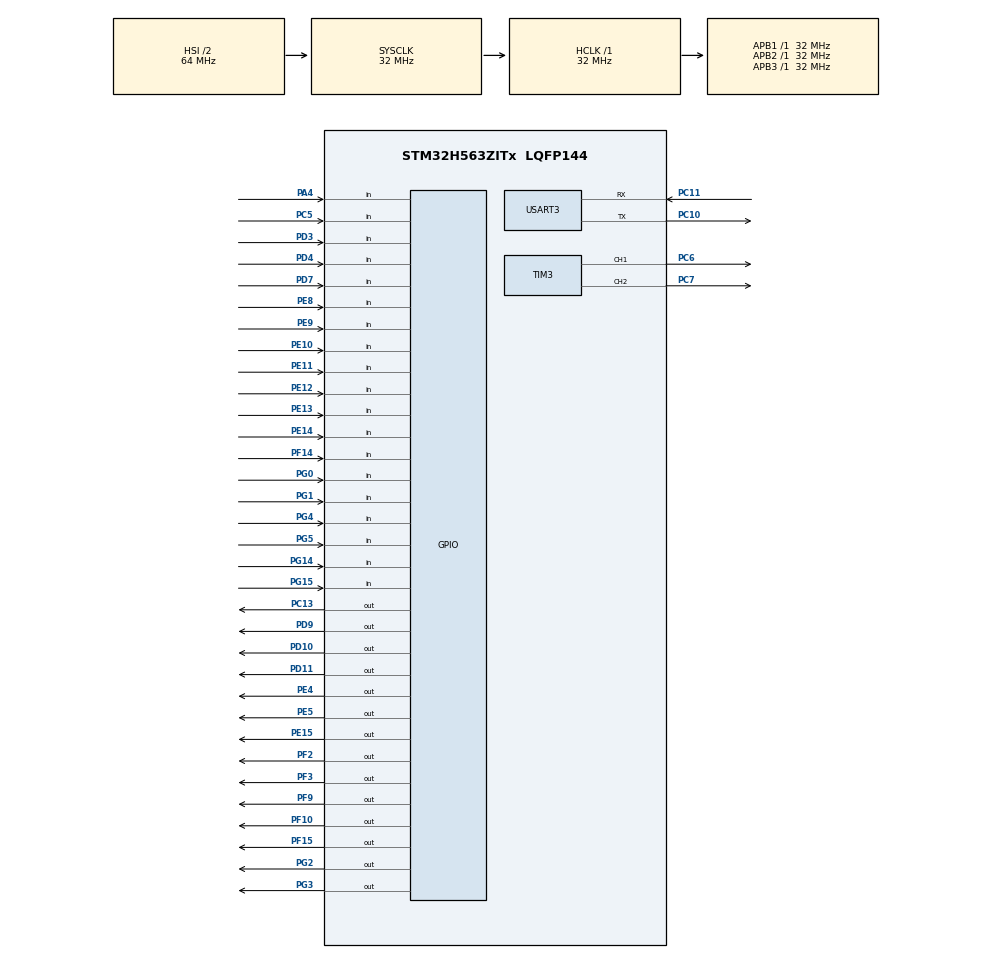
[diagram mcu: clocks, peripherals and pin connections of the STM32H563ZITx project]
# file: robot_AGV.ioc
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BOOTPATH.BootPathName=LEGACY
BOOTPATH.UserSelectedBootPath=LEGACY
CORTEX_M33_NS.userName=CORTEX_M33
Mcu.Family=STM32H5
Mcu.Name=STM32H563ZITx
Mcu.Package=LQFP144
NVIC.PriorityGroup=NVIC_PRIORITYGROUP_4
PA13(JTMS/SWDIO).Signal=DEBUG_JTMS-SWDIO
PA14(JTCK/SWCLK).Signal=DEBUG_JTCK-SWCLK
PA4.GPIO_PuPd=GPIO_PULLUP
PA4.Signal=GPIO_Input
PC10.Mode=Asynchronous
PC10.Signal=USART3_TX
PC11.Mode=Asynchronous
PC11.Signal=USART3_RX
PC13.Signal=GPIO_Output
PC5.GPIO_PuPd=GPIO_PULLUP
PC5.Signal=GPIO_Input
PC6.Signal=S_TIM3_CH1
PC7.Signal=S_TIM3_CH2
PD10.Signal=GPIO_Output
PD11.Signal=GPIO_Output
PD3.GPIO_PuPd=GPIO_PULLUP
PD3.Signal=GPIO_Input
PD4.GPIO_PuPd=GPIO_PULLUP
PD4.Signal=GPIO_Input
PD7.GPIO_PuPd=GPIO_PULLUP
PD7.Signal=GPIO_Input
PD9.Signal=GPIO_Output
PE10.GPIO_PuPd=GPIO_PULLUP
PE10.Signal=GPIO_Input
PE11.GPIO_PuPd=GPIO_PULLUP
PE11.Signal=GPIO_Input
PE12.GPIO_PuPd=GPIO_PULLUP
PE12.Signal=GPIO_Input
PE13.GPIO_PuPd=GPIO_PULLUP
PE13.Signal=GPIO_Input
PE14.GPIO_PuPd=GPIO_PULLUP
PE14.Signal=GPIO_Input
PE15.Signal=GPIO_Output
PE4.Signal=GPIO_Output
PE5.Signal=GPIO_Output
PE8.GPIO_PuPd=GPIO_PULLUP
PE8.Signal=GPIO_Input
PE9.GPIO_PuPd=GPIO_PULLUP
PE9.Signal=GPIO_Input
PF10.Signal=GPIO_Output
PF14.GPIO_PuPd=GPIO_PULLUP
PF14.Signal=GPIO_Input
PF15.Signal=GPIO_Output
PF2.Signal=GPIO_Output
PF3.Signal=GPIO_Output
PF9.Signal=GPIO_Output
PG0.GPIO_PuPd=GPIO_PULLUP
PG0.Signal=GPIO_Input
PG1.GPIO_PuPd=GPIO_PULLUP
PG1.Signal=GPIO_Input
PG14.GPIO_PuPd=GPIO_PULLUP
PG14.Signal=GPIO_Input
PG15.GPIO_PuPd=GPIO_PULLUP
PG15.Signal=GPIO_Input
PG2.Signal=GPIO_Output
PG3.Signal=GPIO_Output
PG4.GPIO_PuPd=GPIO_PULLUP
PG4.Signal=GPIO_Input
PG5.GPIO_PuPd=GPIO_PULLUP
PG5.Signal=GPIO_Input
ProjectManager.HeapSize=0x200
ProjectManager.StackSize=0x400
ProjectManager.TargetToolchain=STM32CubeIDE
RCC.ADCFreq_Value=32000000
RCC.AHBFreq_Value=32000000
RCC.APB1Freq_Value=32000000
RCC.APB1TimFreq_Value=32000000
RCC.APB2Freq_Value=32000000
RCC.APB2TimFreq_Value=32000000
RCC.APB3Freq_Value=32000000
RCC.CSI_VALUE=4000000
RCC.CortexFreq_Value=32000000
RCC.EPOD_VALUE=4000000
RCC.HCLKFreq_Value=32000000
RCC.HSE_VALUE=25000000
RCC.HSI48_VALUE=48000000
RCC.HSI_VALUE=64000000
RCC.LSE_VALUE=32768
RCC.LSIRC_VALUE=32000
RCC.SYSCLKFreq_VALUE=32000000
RCC.USBFreq_Value=48000000
RCC.VCOOutputFreq_Value=516000000
SH.S_TIM3_CH1.0=TIM3_CH1,PWM Generation1 CH1
SH.S_TIM3_CH2.0=TIM3_CH2,PWM Generation2 CH2
TIM3.Channel-PWM\ Generation1\ CH1=TIM_CHANNEL_1
TIM3.Channel-PWM\ Generation2\ CH2=TIM_CHANNEL_2
USART3.VirtualMode=VM_ASYNC
VP_BOOTPATH_VS_BOOTPATH.Mode=BP_Activate
VP_MEMORYMAP_VS_MEMORYMAP.Mode=CurAppReg
VP_PWR_VS_DBSignals.Mode=DisableDeadBatterySignals
VP_PWR_VS_LPOM.Mode=PowerOptimisation
VP_PWR_VS_SECSignals.Mode=Security/Privilege
VP_TIM3_VS_ClockSourceINT.Mode=Internal
board=custom

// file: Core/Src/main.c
/* USER CODE BEGIN Header */
/**
  ******************************************************************************
  * @file           : main.c
  * @brief          : Main program body
  ******************************************************************************
  * @attention
  *
  * Copyright (c) 2026 STMicroelectronics.
  * All rights reserved.
  *
  * This software is licensed under terms that can be found in the LICENSE file
  * in the root directory of this software component.
  * If no LICENSE file comes with this software, it is provided AS-IS.
  *
  ******************************************************************************
  */
/* USER CODE END Header */
#include "main.h"

/* USER CODE BEGIN Includes */
#include<string.h>
/* USER CODE END Includes */

/* USER CODE BEGIN PTD */
typedef struct
{
	double Kp , Ki , Kd;
	double P , I , D;
	double set_base_speed;
    int pwm;
    double error , pre_error;
    int SPEED_R , SPEED_L;
}pid;
pid x;
/* USER CODE END PTD */

TIM_HandleTypeDef htim3;

UART_HandleTypeDef huart3;

/* USER CODE BEGIN PV */

uint8_t hang_cot[4][2] =  {
		                  {11 , 12},
						  {21 , 22},
		                  {31 , 32},
						  {41 , 42},
                          };

 uint8_t rx_scan[2];
 char buffer[200];
 uint16_t index_rx = 0;
 uint8_t rx;
uint8_t IR,IR_status = 1,IR_count;
int status = 1;
int counter = 0;

uint32_t pre_time = 0;

double error = 0;

int sensor[16];

char line_binary[17];// 16 bit + null terminator

uint16_t line_value = 0;

uint8_t LY[16] = {14 , 15 , 7 , 3 , 4 , 14 , 5 , 4 , 13 , 14 , 11 , 12 , 9 , 10 , 8 , 0};

GPIO_TypeDef* sensor_port[16] =
{
    GPIOG, GPIOG, GPIOD, GPIOD,
    GPIOD, GPIOF, GPIOG, GPIOG,
    GPIOE, GPIOE, GPIOE, GPIOE,
    GPIOE, GPIOE, GPIOE, GPIOG
};
uint8_t dir = 1;
/* USER CODE END PV */

void SystemClock_Config(void);
static void MX_GPIO_Init(void);
static void MX_TIM3_Init(void);
static void MX_USART3_UART_Init(void);
/* USER CODE BEGIN PFP */
void pid_controller(pid *x , double error);
void warning_led(uint16_t timer);

void control_motor(uint16_t xung1 , uint16_t xung2, uint8_t dir1, uint8_t dir2)
{
	  GPIOD -> ODR |= (1 << 11);//EN
	  HAL_GPIO_WritePin(GPIOD, GPIO_PIN_10, dir1);//F/R
	  (&htim3) -> Instance -> CCR2 = xung1;

	  GPIOG -> ODR |= (1 << 3);//EN
	  HAL_GPIO_WritePin(GPIOG, GPIO_PIN_2, dir2);//F/R
      (&htim3) -> Instance -> CCR1 = xung2;
      //en : 1 là chạy , 0 là dừng
}
void read_sensor_AGV()
{
	     for(int i = 0 ; i < 16 ; i ++)
		 {
		 sensor[i] = (sensor_port[i] -> IDR >> LY[i] & 1);
		 }

		 for(int i = 0; i < 16; i++)
		 {
		 line_binary[i] = sensor[i] ? '1' : '0';
		 }
		 line_binary[16] = '\0';  // Kết thúc chuỗi
}
void follow_line_robot_AGV()
{// tính thêm trư�?ng hợp lệch 5,6
	     if(strcmp(line_binary, "1111110000111111") == 0)
	     {
			 //control_motor(100, 100, 0 , 1);
	    	 error = 0;
	     }
		 //------------------------------lệch trái 4 phân ----------------------------------//
		 if(strcmp(line_binary, "1111100001111111") == 0)
			   error = -1;
		 		// control_motor(100, 100, 0 , 0);// rẽ phải
		 if(strcmp(line_binary, "1111000011111111") == 0)
		 		 //control_motor(100, 100, 0 , 0);
			   error = -1.5;
		 if(strcmp(line_binary, "1110000111111111") == 0)
		 		 //control_motor(100, 100, 0 , 0);
			   error = -2;
		 if(strcmp(line_binary, "1100001111111111") == 0)
		 		 //control_motor(100, 100, 0 , 0);
			    error = -2.5;
		 if(strcmp(line_binary, "1000011111111111") == 0)
		 		// control_motor(100, 100, 0 , 0);
			   error = -3;
		 if(strcmp(line_binary, "0000111111111111") == 0)
		 		// control_motor(100, 100, 0 , 0);
			  error = -3.5;
		 //--------------------------lệch trái 3 phân---------------------------------------//
		 if(strcmp(line_binary,  "1111110001111111") == 0)
			  error = -1;
			 	 //control_motor(100, 100, 0 , 0);
	     if(strcmp(line_binary,  "1111100011111111") == 0){
	    	 error = -1.5;}
			 	// control_motor(100, 100, 0 , 0);
		 if(strcmp(line_binary,  "1111000111111111") == 0){
			 error = -2;}
			 	// control_motor(100, 100, 0 , 0);
	     if(strcmp(line_binary,  "1110001111111111") == 0)
	    	 error = -2.5;
			 	// control_motor(400, 400, 0 , 0);
	     if(strcmp(line_binary,  "1100011111111111") == 0)
	    	 error = -3;
			 	// control_motor(100, 100, 0 , 0);
	     if(strcmp(line_binary,  "1000111111111111") == 0)
	    	 error = -3.5;
	     		 	// control_motor(100, 100, 0 , 0);
	     if(strcmp(line_binary,  "0001111111111111") == 0)
	    	 error = -4;
	     		 	// control_motor(100, 100, 0 , 0);
	    //-----------------------lệch phải 4 phân---------------------------------------//
		 if(strcmp(line_binary, "1111111000011111") == 0)
			   error = 1;
		 		// control_motor(100, 100, 1 , 1);// rẽ phải
		 if(strcmp(line_binary, "1111111100001111") == 0)
			   error = 1.5;
		 		// control_motor(100, 100, 1 , 1);
		 if(strcmp(line_binary, "1111111110000111") == 0)
			   error = 2;
		 		// control_motor(100, 100, 1 , 1);
		 if(strcmp(line_binary, "1111111111000011") == 0)
			   error = 2.5;
		 		 //control_motor(100, 100, 1 , 1);
		 if(strcmp(line_binary, "1111111111100001") == 0)
			   error = 3;
		 		 //control_motor(100, 100, 1 , 1);
		 if(strcmp(line_binary, "1111111111110000") == 0)
			  error = 3.5;
		 		// control_motor(100, 100, 1 , 1);
		 //--------------------lệch phải 3 phân------------------------------------------//
		 if(strcmp(line_binary, "1111111000111111") == 0)
			    error = 1;
		 		 //control_motor(100, 100, 1 , 1);// rẽ trái
		 if(strcmp(line_binary, "1111111100011111") == 0)
		 		// control_motor(100, 100, 1 , 1);
			    error = 1.5;
		 if(strcmp(line_binary, "1111111110001111") == 0)
		 		 //control_motor(100, 100, 1 , 1);
			    error = 2;
		 if(strcmp(line_binary, "1111111111000111") == 0)
		 		// control_motor(100, 100, 1 , 1);
			    error = 2.5;
		 if(strcmp(line_binary, "1111111111100011") == 0)
		 		// control_motor(100, 100, 1 , 1);
			    error = 3;
		 if(strcmp(line_binary, "1111111111110001") == 0)
		 		// control_motor(100, 100, 1 , 1);
			    error = 3.5;
		 if(strcmp(line_binary, "1111111111111000") == 0)
			    // control_motor(100, 100, 1 , 1);
			    error = 4;
	//-------------------------lệch trái 5 phân---------------------------//
		 if(strcmp(line_binary, "1111000001111111") == 0)
		 		 //control_motor(100, 100, 0 , 0);// rẽ phải
			 error = -1;
		 if(strcmp(line_binary, "1110000011111111") == 0)
		 		// control_motor(100, 100, 0 , 0);
			 error = -1.5;
		 if(strcmp(line_binary, "1100000111111111") == 0)
		 		// control_motor(100, 100, 0 , 0);
			 error = -2;
		 if(strcmp(line_binary, "1000001111111111") == 0)
		 		// control_motor(100, 100, 0 , 0);
			 error = -2.5;
		 if(strcmp(line_binary, "0000011111111111") == 0)
		 		// control_motor(100, 100, 0 , 0);
			 error = -3;
   //-----------------------lệch phải 5 phân------------------------------//
		 if(strcmp(line_binary, "1111111000001111") == 0)
		 		// control_motor(100, 100, 1 , 1);// rẽ trái
			 error = 1;
		 if(strcmp(line_binary, "1111111100000111") == 0)
			 error = 1.5;
		 		// control_motor(100, 100, 1 , 1);
		 if(strcmp(line_binary, "1111111110000011") == 0)
			 error = 2;
		 		// control_motor(100, 100, 1 , 1);
		 if(strcmp(line_binary, "1111111111000001") == 0)
			 error = 2.5;
		 		 //control_motor(100, 100, 1 , 1);
		 if(strcmp(line_binary, "1111111111100000") == 0)
		 {
			 error = 3;
		 }
         //control_motor(100, 100, 1 , 1);
		  pid_controller(&x, error);

		  if(dir == 1)
		  {
		  if(error == 0)
		  {
			 control_motor(200, 200, 0 , 1);
		  }
		 if(error == -1 || error == -1.5 || error == -2 || error == -2.5 || error == -3 || error == -3.5 || error == -4)
			 control_motor((&x)->SPEED_R, 0 , 0 , 1);
		 if(error == 1 || error == 1.5 || error == 2 || error == 2.5 || error == 3 || error == 3.5 || error == 4)
			 control_motor(0, (&x)->SPEED_L , 0 , 1);
		 if(strcmp(line_binary, "1111111111111111") == 0)
		 {
			 control_motor(0, 0, 0 , 0);
		 }
		 }
		 if(strcmp(line_binary, "1111110000000000") == 0)
		 {

			 control_motor(100, 100, 0 , 1);
			 HAL_Delay(1500);
			 control_motor(0, 100, 1 , 1);
			 HAL_Delay(1000);
			 while(1)
		  {
			        read_sensor_AGV();
			        warning_led(200);
			        if(strcmp(line_binary, "1111110000111111") == 0 ||strcmp(line_binary, "1111110000011111") == 0 )
	      {
			        break;
		  }
		  }

}
}
void pid_controller(pid *x , double error)
{
  x->error = error;

  x->I += x->error;

  x->D = (double)(x->error - x->pre_error);

  x->pre_error = x->error;

  x->pwm = (x->Kp*x->error) + (x->Ki*x->I) + (x->Kd*x->D);

  x->SPEED_L = (int)x->set_base_speed - x->pwm;
  x->SPEED_R = (int)x->set_base_speed + x->pwm;

  if(x->SPEED_L >= 700) x->SPEED_L = 700;//500
  if(x->SPEED_R >= 700) x->SPEED_R = 700;//500

 // return x->pwm;
}
void warning_led(uint16_t timer)
{
	if(timer != 0)
	{
	if((uint32_t)HAL_GetTick() - pre_time > timer)
	{
		pre_time = HAL_GetTick();
		GPIOE -> ODR ^= (1 << 15);
	}
	}
}
void return_robot()
{
	if((GPIOA -> IDR >> 4 & 1) == 0 && IR_status == 1)
	{
	HAL_Delay(20);
	IR_count++;
	}
	IR_status = GPIOA -> IDR >> 4 & 1;
	if(IR_count == 1)
	{

	while(1)
	{
	dir = 0;
	read_sensor_AGV();
	follow_line_robot_AGV();
	if(error == 0)
	{
	control_motor(100, 100, 1 , 0);
	}
	if(error == -1 || error == -1.5 || error == -2 || error == -2.5 || error == -3)
	control_motor(100,100,  0,  1);
	if(error == 1 || error == 1.5 || error == 2 || error == 2.5 || error == 3)
	control_motor(100,100 , 1 ,0);
	}
	}
}

/* USER CODE END PFP */

int main(void)
{

  /* MCU Configuration--------------------------------------------------------*/

  /* Reset of all peripherals, Initializes the Flash interface and the Systick. */
  HAL_Init();

  /* Configure the system clock */
  SystemClock_Config();

  /* Initialize all configured peripherals */
  MX_GPIO_Init();
  MX_TIM3_Init();
  MX_USART3_UART_Init();
  /* USER CODE BEGIN 2 */
  // dùng uart3 , RS485_1_ISO
  // HAL_UART_Receive(&huart3, rx_scan, 2 , 100);// nhớ để trong while(1)
  HAL_TIM_PWM_Start(&htim3, TIM_CHANNEL_1);
  HAL_TIM_PWM_Start(&htim3, TIM_CHANNEL_2);
  (&htim3) -> Instance -> PSC = 31;
  (&htim3) -> Instance -> ARR = 999;//1khz
  (&x)->Kp = 55;
  (&x)->Ki = 0;
  (&x)->Kd = 10;
  (&x)->set_base_speed = 300;
  //HAL_UART_Receive_IT(&huart3,&rx,1);
  //HAL_UART_Receive_IT(&huart3, &uart3_rx_byte, 1);
  //	  sensor[0] = GPIOG -> IDR >> 14 & 1;
  //	  sensor[1] = GPIOG -> IDR >> 15 & 1;
  //	  sensor[2] = GPIOD -> IDR >> 7 & 1;
  //	  sensor[3] = GPIOD -> IDR >> 3 & 1;
  //	  sensor[4] = GPIOD -> IDR >> 4 & 1;
  //	  sensor[5] = GPIOF -> IDR >> 14 & 1;
  //	  sensor[6] = GPIOG -> IDR >> 5 & 1;
  //	  sensor[7] = GPIOG -> IDR >> 4 & 1;
  //	  sensor[8] = GPIOE -> IDR >> 13 & 1;
  //	  sensor[9] = GPIOE -> IDR >> 14 & 1;
  //	  sensor[10] = GPIOE -> IDR >> 11 & 1;
  //	  sensor[11] = GPIOE -> IDR >> 12 & 1;
  //	  sensor[12] = GPIOE -> IDR >> 9 & 1;
  //	  sensor[13] = GPIOE -> IDR >> 10 & 1;
  //	  sensor[14] = GPIOE -> IDR >> 8 & 1;
  //	  sensor[15] = GPIOG -> IDR >> 0 & 1;
  //EN = 0  LÀ CHẠY , 1 LÀ DỪNG
  // FR = 1 -> t , 0-> N
  /* USER CODE END 2 */

  /* Infinite loop */
  /* USER CODE BEGIN WHILE */
  while (1)
  {
	//LM1 PD9 , LM2 : PF15
	HAL_UART_Receive(&huart3, rx_scan,sizeof(rx_scan) ,100);
	//return_robot();
	//read_sensor_AGV();
//	if((GPIOC -> IDR >> 5 & 1) == 0 && (status == 1))
//	{
//		HAL_Delay(20);
//		counter++;
//	}
//	status = GPIOC -> IDR >> 5 & 1;
//
//    if(counter % 2 == 0)
//    {
//    if((GPIOG -> IDR >> 1 & 1) == 1)
//	{
//		control_motor(0, 0, 0, 0);// stop robot
//	}else
//	{
//	if(dir == 1)
//	{
//	warning_led(200);
//	follow_line_robot_AGV();
//	}
//	}
//    }
//    if(counter % 2 == 1)
//    {
//    	GPIOE -> ODR &=~ (1 << 15);
//    	control_motor(0, 0, 0, 0);
//    }
	  //control_motor(400, 400, 0 , 1);// tiến
	  //control_motor(400, 400, 1, 0);//lùi
	  //control_motor(400, 400, 1, 1);//phải
	  //control_motor(400, 400, 0, 0);//trái
    /* USER CODE END WHILE */

 }
}

void SystemClock_Config(void)
{
  RCC_OscInitTypeDef RCC_OscInitStruct = {0};
  RCC_ClkInitTypeDef RCC_ClkInitStruct = {0};

  /** Configure the main internal regulator output voltage
  */
  __HAL_PWR_VOLTAGESCALING_CONFIG(PWR_REGULATOR_VOLTAGE_SCALE3);

  while(!__HAL_PWR_GET_FLAG(PWR_FLAG_VOSRDY)) {}

  /** Initializes the RCC Oscillators according to the specified parameters
  * in the RCC_OscInitTypeDef structure.
  */
  RCC_OscInitStruct.OscillatorType = RCC_OSCILLATORTYPE_HSI;
  RCC_OscInitStruct.HSIState = RCC_HSI_ON;
  RCC_OscInitStruct.HSIDiv = RCC_HSI_DIV2;
  RCC_OscInitStruct.HSICalibrationValue = RCC_HSICALIBRATION_DEFAULT;
  RCC_OscInitStruct.PLL.PLLState = RCC_PLL_NONE;
  if (HAL_RCC_OscConfig(&RCC_OscInitStruct) != HAL_OK)
  {
    Error_Handler();
  }

  /** Initializes the CPU, AHB and APB buses clocks
  */
  RCC_ClkInitStruct.ClockType = RCC_CLOCKTYPE_HCLK|RCC_CLOCKTYPE_SYSCLK
                              |RCC_CLOCKTYPE_PCLK1|RCC_CLOCKTYPE_PCLK2
                              |RCC_CLOCKTYPE_PCLK3;
  RCC_ClkInitStruct.SYSCLKSource = RCC_SYSCLKSOURCE_HSI;
  RCC_ClkInitStruct.AHBCLKDivider = RCC_SYSCLK_DIV1;
  RCC_ClkInitStruct.APB1CLKDivider = RCC_HCLK_DIV1;
  RCC_ClkInitStruct.APB2CLKDivider = RCC_HCLK_DIV1;
  RCC_ClkInitStruct.APB3CLKDivider = RCC_HCLK_DIV1;

  if (HAL_RCC_ClockConfig(&RCC_ClkInitStruct, FLASH_LATENCY_1) != HAL_OK)
  {
    Error_Handler();
  }
}

static void MX_TIM3_Init(void)
{

  TIM_ClockConfigTypeDef sClockSourceConfig = {0};
  TIM_MasterConfigTypeDef sMasterConfig = {0};
  TIM_OC_InitTypeDef sConfigOC = {0};

  htim3.Instance = TIM3;
  htim3.Init.Prescaler = 0;
  htim3.Init.CounterMode = TIM_COUNTERMODE_UP;
  htim3.Init.Period = 65535;
  htim3.Init.ClockDivision = TIM_CLOCKDIVISION_DIV1;
  htim3.Init.AutoReloadPreload = TIM_AUTORELOAD_PRELOAD_DISABLE;
  if (HAL_TIM_Base_Init(&htim3) != HAL_OK)
  {
    Error_Handler();
  }
  sClockSourceConfig.ClockSource = TIM_CLOCKSOURCE_INTERNAL;
  if (HAL_TIM_ConfigClockSource(&htim3, &sClockSourceConfig) != HAL_OK)
  {
    Error_Handler();
  }
  if (HAL_TIM_PWM_Init(&htim3) != HAL_OK)
  {
    Error_Handler();
  }
  sMasterConfig.MasterOutputTrigger = TIM_TRGO_RESET;
  sMasterConfig.MasterSlaveMode = TIM_MASTERSLAVEMODE_DISABLE;
  if (HAL_TIMEx_MasterConfigSynchronization(&htim3, &sMasterConfig) != HAL_OK)
  {
    Error_Handler();
  }
  sConfigOC.OCMode = TIM_OCMODE_PWM1;
  sConfigOC.Pulse = 0;
  sConfigOC.OCPolarity = TIM_OCPOLARITY_HIGH;
  sConfigOC.OCFastMode = TIM_OCFAST_DISABLE;
  if (HAL_TIM_PWM_ConfigChannel(&htim3, &sConfigOC, TIM_CHANNEL_1) != HAL_OK)
  {
    Error_Handler();
  }
  if (HAL_TIM_PWM_ConfigChannel(&htim3, &sConfigOC, TIM_CHANNEL_2) != HAL_OK)
  {
    Error_Handler();
  }
  HAL_TIM_MspPostInit(&htim3);

}

static void MX_USART3_UART_Init(void)
{

  huart3.Instance = USART3;
  huart3.Init.BaudRate = 115200;
  huart3.Init.WordLength = UART_WORDLENGTH_8B;
  huart3.Init.StopBits = UART_STOPBITS_1;
  huart3.Init.Parity = UART_PARITY_NONE;
  huart3.Init.Mode = UART_MODE_TX_RX;
  huart3.Init.HwFlowCtl = UART_HWCONTROL_NONE;
  huart3.Init.OverSampling = UART_OVERSAMPLING_16;
  huart3.Init.OneBitSampling = UART_ONE_BIT_SAMPLE_DISABLE;
  huart3.Init.ClockPrescaler = UART_PRESCALER_DIV1;
  huart3.AdvancedInit.AdvFeatureInit = UART_ADVFEATURE_NO_INIT;
  if (HAL_UART_Init(&huart3) != HAL_OK)
  {
    Error_Handler();
  }
  if (HAL_UARTEx_SetTxFifoThreshold(&huart3, UART_TXFIFO_THRESHOLD_1_8) != HAL_OK)
  {
    Error_Handler();
  }
  if (HAL_UARTEx_SetRxFifoThreshold(&huart3, UART_RXFIFO_THRESHOLD_1_8) != HAL_OK)
  {
    Error_Handler();
  }
  if (HAL_UARTEx_DisableFifoMode(&huart3) != HAL_OK)
  {
    Error_Handler();
  }

}

static void MX_GPIO_Init(void)
{
  GPIO_InitTypeDef GPIO_InitStruct = {0};

  /* GPIO Ports Clock Enable */
  __HAL_RCC_GPIOE_CLK_ENABLE();
  __HAL_RCC_GPIOC_CLK_ENABLE();
  __HAL_RCC_GPIOF_CLK_ENABLE();
  __HAL_RCC_GPIOA_CLK_ENABLE();
  __HAL_RCC_GPIOG_CLK_ENABLE();
  __HAL_RCC_GPIOD_CLK_ENABLE();

  /*Configure GPIO pin Output Level */
  HAL_GPIO_WritePin(GPIOE, GPIO_PIN_4|GPIO_PIN_5|GPIO_PIN_15, GPIO_PIN_RESET);

  /*Configure GPIO pin Output Level */
  HAL_GPIO_WritePin(GPIOC, GPIO_PIN_13, GPIO_PIN_RESET);

  /*Configure GPIO pin Output Level */
  HAL_GPIO_WritePin(GPIOF, GPIO_PIN_2|GPIO_PIN_3|GPIO_PIN_9|GPIO_PIN_10
                          |GPIO_PIN_15, GPIO_PIN_RESET);

  /*Configure GPIO pin Output Level */
  HAL_GPIO_WritePin(GPIOD, GPIO_PIN_9|GPIO_PIN_10|GPIO_PIN_11, GPIO_PIN_RESET);

  /*Configure GPIO pin Output Level */
  HAL_GPIO_WritePin(GPIOG, GPIO_PIN_2|GPIO_PIN_3, GPIO_PIN_RESET);

  /*Configure GPIO pins : PE4 PE5 PE15 */
  GPIO_InitStruct.Pin = GPIO_PIN_4|GPIO_PIN_5|GPIO_PIN_15;
  GPIO_InitStruct.Mode = GPIO_MODE_OUTPUT_PP;
  GPIO_InitStruct.Pull = GPIO_NOPULL;
  GPIO_InitStruct.Speed = GPIO_SPEED_FREQ_LOW;
  HAL_GPIO_Init(GPIOE, &GPIO_InitStruct);

  /*Configure GPIO pin : PC13 */
  GPIO_InitStruct.Pin = GPIO_PIN_13;
  GPIO_InitStruct.Mode = GPIO_MODE_OUTPUT_PP;
  GPIO_InitStruct.Pull = GPIO_NOPULL;
  GPIO_InitStruct.Speed = GPIO_SPEED_FREQ_LOW;
  HAL_GPIO_Init(GPIOC, &GPIO_InitStruct);

  /*Configure GPIO pins : PF2 PF3 PF9 PF10
                           PF15 */
  GPIO_InitStruct.Pin = GPIO_PIN_2|GPIO_PIN_3|GPIO_PIN_9|GPIO_PIN_10
                          |GPIO_PIN_15;
  GPIO_InitStruct.Mode = GPIO_MODE_OUTPUT_PP;
  GPIO_InitStruct.Pull = GPIO_NOPULL;
  GPIO_InitStruct.Speed = GPIO_SPEED_FREQ_LOW;
  HAL_GPIO_Init(GPIOF, &GPIO_InitStruct);

  /*Configure GPIO pin : PA4 */
  GPIO_InitStruct.Pin = GPIO_PIN_4;
  GPIO_InitStruct.Mode = GPIO_MODE_INPUT;
  GPIO_InitStruct.Pull = GPIO_PULLUP;
  HAL_GPIO_Init(GPIOA, &GPIO_InitStruct);

  /*Configure GPIO pin : PC5 */
  GPIO_InitStruct.Pin = GPIO_PIN_5;
  GPIO_InitStruct.Mode = GPIO_MODE_INPUT;
  GPIO_InitStruct.Pull = GPIO_PULLUP;
  HAL_GPIO_Init(GPIOC, &GPIO_InitStruct);

  /*Configure GPIO pin : PF14 */
  GPIO_InitStruct.Pin = GPIO_PIN_14;
  GPIO_InitStruct.Mode = GPIO_MODE_INPUT;
  GPIO_InitStruct.Pull = GPIO_PULLUP;
  HAL_GPIO_Init(GPIOF, &GPIO_InitStruct);

  /*Configure GPIO pins : PG0 PG1 PG4 PG5
                           PG14 PG15 */
  GPIO_InitStruct.Pin = GPIO_PIN_0|GPIO_PIN_1|GPIO_PIN_4|GPIO_PIN_5
                          |GPIO_PIN_14|GPIO_PIN_15;
  GPIO_InitStruct.Mode = GPIO_MODE_INPUT;
  GPIO_InitStruct.Pull = GPIO_PULLUP;
  HAL_GPIO_Init(GPIOG, &GPIO_InitStruct);

  /*Configure GPIO pins : PE8 PE9 PE10 PE11
                           PE12 PE13 PE14 */
  GPIO_InitStruct.Pin = GPIO_PIN_8|GPIO_PIN_9|GPIO_PIN_10|GPIO_PIN_11
                          |GPIO_PIN_12|GPIO_PIN_13|GPIO_PIN_14;
  GPIO_InitStruct.Mode = GPIO_MODE_INPUT;
  GPIO_InitStruct.Pull = GPIO_PULLUP;
  HAL_GPIO_Init(GPIOE, &GPIO_InitStruct);

  /*Configure GPIO pins : PD9 PD10 PD11 */
  GPIO_InitStruct.Pin = GPIO_PIN_9|GPIO_PIN_10|GPIO_PIN_11;
  GPIO_InitStruct.Mode = GPIO_MODE_OUTPUT_PP;
  GPIO_InitStruct.Pull = GPIO_NOPULL;
  GPIO_InitStruct.Speed = GPIO_SPEED_FREQ_LOW;
  HAL_GPIO_Init(GPIOD, &GPIO_InitStruct);

  /*Configure GPIO pins : PG2 PG3 */
  GPIO_InitStruct.Pin = GPIO_PIN_2|GPIO_PIN_3;
  GPIO_InitStruct.Mode = GPIO_MODE_OUTPUT_PP;
  GPIO_InitStruct.Pull = GPIO_NOPULL;
  GPIO_InitStruct.Speed = GPIO_SPEED_FREQ_LOW;
  HAL_GPIO_Init(GPIOG, &GPIO_InitStruct);

  /*Configure GPIO pins : PD3 PD4 PD7 */
  GPIO_InitStruct.Pin = GPIO_PIN_3|GPIO_PIN_4|GPIO_PIN_7;
  GPIO_InitStruct.Mode = GPIO_MODE_INPUT;
  GPIO_InitStruct.Pull = GPIO_PULLUP;
  HAL_GPIO_Init(GPIOD, &GPIO_InitStruct);

}

void Error_Handler(void)
{
  __disable_irq();
  while (1)
  {
  }
}
